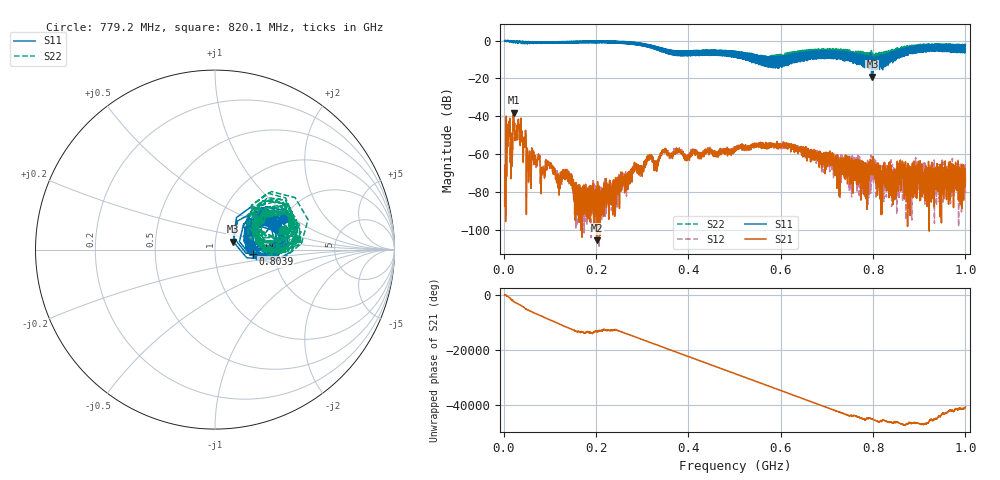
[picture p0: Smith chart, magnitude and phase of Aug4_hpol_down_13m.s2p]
!Keysight Technologies N9923A: A.12.45
!Date: Tuesday, 05 August 2025 18:13:07
!Timezone: (UTC+08:00) Kuala Lumpur, Singapore
!Model: N9923A
!Serial: MY61181427
!GPS Latitude:
!GPS Longitude:
!GPS TimeStamp: 0001-01-01 00:00:00Z
!GPS Seconds Since Last Read: 0
!CHECKSUM:0884204813
!Correction: S11(ON U)S21(ON U)S12(ON U)S22(ON U)
!S2P File: Measurements:S11,S21,S12,S22:
# Hz S DB R 50
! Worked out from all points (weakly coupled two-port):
!   4001 points, 2 MHz to 1 GHz, reference 50 ohm
!   highest |S21| = -37.98 dB at 21.71 MHz (marker M1); lowest = -105.4 dB at 201.4 MHz (marker M2)
!   lowest |S11| = -19.1 dB at 798.7 MHz (marker M3), VSWR 1.25, Z = 61.1 + j5.45 ohm
!   |S11| at or under -10 dB: 796.4021 MHz to 797.5026 MHz (1.101 MHz wide, 0.138 % of centre); 798.1443 MHz to 799.2352 MHz (1.091 MHz wide, 0.137 % of centre); 799.89 MHz to 801.0398 MHz (1.15 MHz wide, 0.144 % of centre)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
!   |S22| runs from -14.0 to 0.1 dB; largest |S21 - S12| = 0.001
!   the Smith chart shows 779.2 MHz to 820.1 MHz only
!   S11 on the Smith chart (normalised r, x): 779.2 MHz: 1.99, +0.84; 803.9 MHz: 1.53, -0.07; 820.1 MHz: 1.71, +0.63
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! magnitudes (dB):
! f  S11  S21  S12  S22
! 2 MHz  -0.1  -86.8  -85.3  -0.1
! 9.735 MHz  -0.2  -44.4  -44.4  0.0
! 21.71 MHz  -0.2  -38.0  -38.0  -0.1
! 35.18 MHz  -0.3  -50.6  -50.6  -0.4
! 55.39 MHz  -0.9  -59.9  -60.1  -0.6
! 73.61 MHz  -0.8  -62.2  -61.9  -0.7
! 84.58 MHz  -1.3  -67.7  -68.9  -1.3
! 99.06 MHz  -0.8  -65.7  -65.2  -0.7
! 117.3 MHz  -0.6  -77.8  -74.4  -0.5
! 135.2 MHz  -1.0  -68.0  -70.9  -1.0
! 168.4 MHz  -1.2  -78.5  -78.6  -1.0
! 201.4 MHz  -0.3  -105.4  -79.8  -0.1
! 334.8 MHz  -4.2  -62.5  -63.6  -4.9
! 348.3 MHz  -5.0  -59.1  -58.5  -5.5
! 501 MHz  -6.4  -58.0  -58.0  -7.3
! 667.4 MHz  -8.9  -58.0  -60.1  -7.8
! 779.2 MHz  -7.6  -70.4  -70.5  -8.0
! 798.7 MHz  -19.1  -64.4  -67.7  -8.4
! 803.9 MHz  -13.5  -67.2  -66.3  -11.1
! 820.1 MHz  -9.4  -83.7  -65.9  -6.7
! 833.8 MHz  -9.5  -69.2  -72.7  -5.5
! 1 GHz  -2.5  -73.9  -80.8  -3.9
